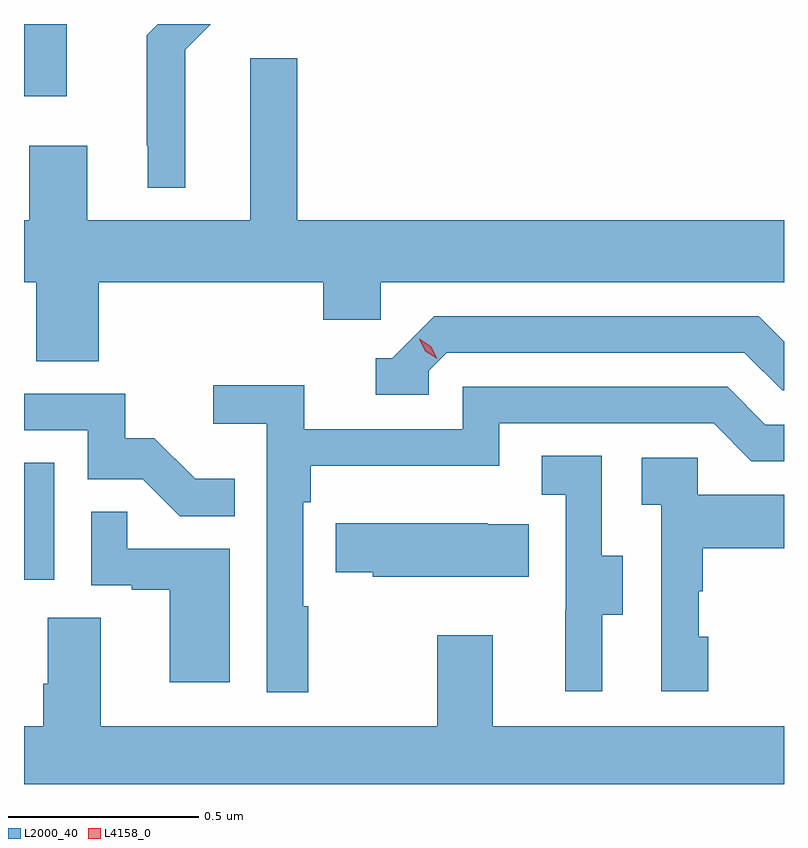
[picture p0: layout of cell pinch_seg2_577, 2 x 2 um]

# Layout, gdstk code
import gdstk
lib = gdstk.Library(unit=1e-6, precision=1e-09)
def R(c, l, rs):  # rectangles x0, y0, x1, y1
    for r in rs: c.add(gdstk.rectangle(r[:2], r[2:], *l))
def P(c, l, *ps):  # polygons
    for p in ps: c.add(gdstk.Polygon(p, *l))
L2000_40 = (2000, 40)
L4158_0 = (4158, 0)

pinch_seg2_577 = lib.new_cell('pinch_seg2_577')
R(pinch_seg2_577, L2000_40, [(1097.583,614.886,1097.662,615.193), (1097.583,616.158,1097.695,616.348)])
P(pinch_seg2_577, L2000_40, [(1098.007,616.28),(1098.075,616.348),(1097.935,616.348),(1097.906,616.319),(1097.906,616.027),(1097.909,616.027),(1097.909,615.917),(1098.007,615.917)],
  [(1097.78,615.668),(1098.371,615.668),(1098.371,615.57),(1098.522,615.57),(1098.522,615.668),(1099.583,615.668),(1099.583,615.832),(1098.302,615.832),(1098.302,616.258),(1098.179,616.258),(1098.179,615.832),(1097.749,615.832),(1097.749,616.027),(1097.597,616.027),(1097.597,615.832),(1097.583,615.832),(1097.583,615.668),(1097.615,615.668),(1097.615,615.46),(1097.78,615.46)],
  [(1098.648,615.435),(1098.696,615.483),(1099.479,615.483),(1099.578,615.384),(1099.583,615.384),(1099.583,615.512),(1099.516,615.579),(1098.663,615.579),(1098.552,615.468),(1098.509,615.468),(1098.509,615.372),(1098.648,615.372)],
  [(1098.331,614.816),(1098.318,614.816),(1098.318,615.089),(1098.338,615.089),(1098.338,615.185),(1098.834,615.185),(1098.834,615.297),(1099.398,615.297),(1099.497,615.198),(1099.583,615.198),(1099.583,615.294),(1099.534,615.294),(1099.435,615.393),(1098.738,615.393),(1098.738,615.282),(1098.32,615.282),(1098.32,615.398),(1098.081,615.398),(1098.081,615.296),(1098.222,615.296),(1098.222,614.589),(1098.331,614.589)],
  [(1098.137,615.151),(1098.033,615.151),(1097.926,615.258),(1097.85,615.258),(1097.85,615.375),(1097.583,615.375),(1097.583,615.279),(1097.751,615.279),(1097.751,615.15),(1097.895,615.15),(1097.993,615.052),(1098.137,615.052)],
  [(1099.105,614.794),(1099.159,614.794),(1099.159,614.949),(1099.104,614.949),(1099.104,615.212),(1098.945,615.212),(1098.945,615.109),(1099.008,615.109),(1099.008,614.805),(1099.007,614.805),(1099.007,614.592),(1099.105,614.592)],
  [(1099.384,614.736),(1099.359,614.736),(1099.359,614.855),(1099.369,614.855),(1099.369,614.969),(1099.583,614.969),(1099.583,615.109),(1099.356,615.109),(1099.356,615.207),(1099.209,615.207),(1099.209,615.083),(1099.26,615.083),(1099.26,614.592),(1099.384,614.592)],
  [(1098.124,614.967),(1097.855,614.967),(1097.855,615.065),(1097.76,615.065),(1097.76,614.871),(1097.867,614.871),(1097.867,614.859),(1097.966,614.859),(1097.966,614.616),(1098.124,614.616)],
  [(1098.911,615.031),(1098.803,615.031),(1098.803,615.034),(1098.403,615.034),(1098.403,614.905),(1098.501,614.905),(1098.501,614.894),(1098.911,614.894)],
  [(1099.583,614.5),(1098.817,614.5),(1098.817,614.74),(1098.67,614.74),(1098.67,614.5),(1097.785,614.5),(1097.785,614.786),(1097.645,614.786),(1097.645,614.612),(1097.633,614.612),(1097.633,614.5),(1097.583,614.5),(1097.583,614.348),(1099.583,614.348)])
P(pinch_seg2_577, L4158_0, [(1098.67,615.467),(1098.639,615.487),(1098.623,615.52),(1098.623,615.52),(1098.623,615.52),(1098.654,615.5),(1098.67,615.467),(1098.67,615.467)])

lib.write_gds('pinch_seg2_577.gds')
